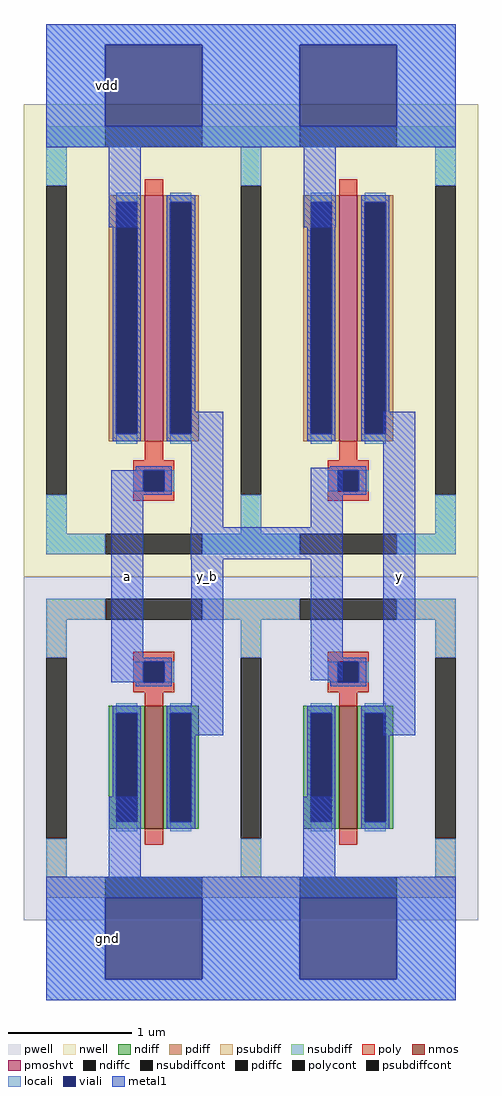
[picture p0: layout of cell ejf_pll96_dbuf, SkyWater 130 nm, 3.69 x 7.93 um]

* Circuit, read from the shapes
.subckt ejf_pll96_dbuf vdd a y y_b gnd
XM1 y_b a gnd gnd sky130_fd_pr__nfet_01v8 w=1 l=0.15
XM2 y y_b gnd gnd sky130_fd_pr__nfet_01v8 w=1 l=0.15
XM3 y_b a vdd vdd sky130_fd_pr__pfet_01v8_hvt w=2 l=0.15
XM4 y y_b vdd vdd sky130_fd_pr__pfet_01v8_hvt w=2 l=0.15
.ends

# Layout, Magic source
magic
tech sky130A
magscale 1 2
<< locali >>
rect 560 456 1226 490
rect 560 324 656 456
rect 814 324 972 456
rect 1130 324 1226 456
rect 560 290 1226 324
rect 560 -930 1226 -896
rect 560 -1062 656 -930
rect 814 -1062 972 -930
rect 1130 -1062 1226 -930
rect 560 -1096 1226 -1062
<< viali >>
rect 656 324 814 456
rect 972 324 1130 456
rect 656 -1062 814 -930
rect 972 -1062 1130 -930
<< metal1 >>
rect 560 456 1226 490
rect 560 324 656 456
rect 814 324 972 456
rect 1130 324 1226 456
rect 560 290 1226 324
rect 662 160 714 290
rect 979 160 1031 290
rect 666 -580 718 -235
rect 796 -328 848 -140
rect 990 -328 1042 -231
rect 795 -380 1042 -328
rect 796 -666 848 -380
rect 990 -576 1042 -380
rect 1108 -666 1160 -140
rect 662 -896 714 -766
rect 978 -896 1030 -766
rect 560 -930 1226 -896
rect 560 -1062 656 -930
rect 814 -1062 972 -930
rect 1130 -1062 1226 -930
rect 560 -1096 1226 -1062
use sky130_fd_pr__nfet_01v8_D5KUY4  XMN2
transform 1 0 1051 0 1 -687
box -211 -279 211 279
use sky130_fd_pr__nfet_01v8_D5KUY4  XMN4
transform 1 0 735 0 1 -687
box -211 -279 211 279
use sky130_fd_pr__pfet_01v8_hvt_ZLV5H2  XMP1
transform 1 0 735 0 1 -24
box -211 -384 211 384
use sky130_fd_pr__pfet_01v8_hvt_ZLV5H2  XMP3
transform 1 0 1051 0 1 -24
box -211 -384 211 384
<< labels >>
flabel metal1 560 -1096 760 -896 0 FreeSans 256 0 0 0 gnd
port 4 nsew
flabel metal1 666 -434 718 -382 0 FreeSans 256 0 0 0 a
port 1 nsew
flabel metal1 560 290 760 490 0 FreeSans 256 0 0 0 vdd
port 0 nsew
flabel metal1 1108 -434 1160 -382 0 FreeSans 256 0 0 0 y
port 2 nsew
flabel metal1 796 -434 848 -382 0 FreeSans 256 0 0 0 y_b
port 3 nsew
<< end >>

# cell sky130_fd_pr__nfet_01v8_D5KUY4: kit device sky130_fd_pr__nfet_01v8, w 1.0 l 0.15 m 1 nf 1 diffcov 100 polycov 100 guard 1 glc 1 grc 1 gtc 1 gbc 1 tbcov 100 rlcov 100 topc 1 botc 0 poverlap 0 doverlap 1 lmin 0.15 wmin 0.42 class mosfet compatible {sky130_fd_pr__nfet_01v8 sky130_fd_pr__nfet_01v8_lvt sky130_fd_bs_flash__special_sonosfet_star sky130_fd_pr__nfet_g5v0d10v5 sky130_fd_pr__nfet_05v0_nvt sky130_fd_pr__nfet_03v3_nvt} full_metal 1 viasrc 100 viadrn 100 viagate 100 viagb 0 viagr 0 viagl 0 viagt 0

# cell sky130_fd_pr__pfet_01v8_hvt_ZLV5H2: kit device sky130_fd_pr__pfet_01v8_hvt, w 2.0 l 0.15 m 1 nf 1 diffcov 100 polycov 100 guard 1 glc 1 grc 1 gtc 1 gbc 1 tbcov 100 rlcov 100 topc 0 botc 1 poverlap 0 doverlap 1 lmin 0.15 wmin 0.42 class mosfet compatible {sky130_fd_pr__pfet_01v8 sky130_fd_pr__pfet_01v8_lvt sky130_fd_pr__pfet_01v8_hvt sky130_fd_pr__pfet_g5v0d10v5} full_metal 1 viasrc 100 viadrn 100 viagate 100 viagb 0 viagr 0 viagl 0 viagt 0
